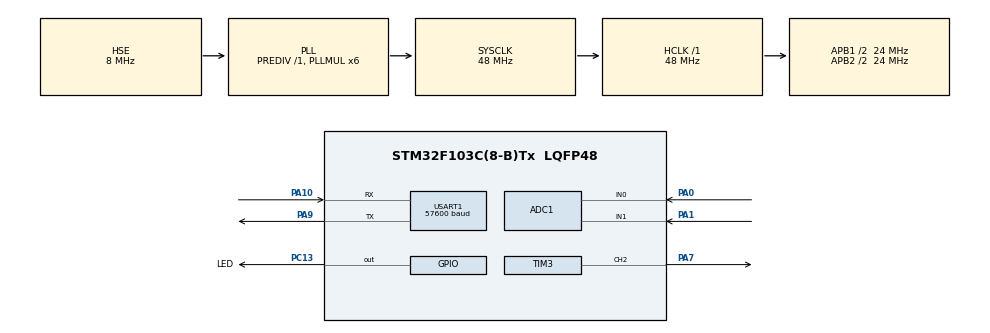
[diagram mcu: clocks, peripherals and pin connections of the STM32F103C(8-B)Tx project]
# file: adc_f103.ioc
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Mcu.Family=STM32F1
RCC.PLLSourceVirtual=RCC_PLLSOURCE_HSE
NVIC.ADC1_2_IRQn=true\:0\:0\:false\:false\:true\:true\:true
Dma.ADC1.0.Instance=DMA1_Channel1
PD1-OSC_OUT.Mode=HSE-External-Oscillator
PA10.Mode=Asynchronous
ADC1.ContinuousConvMode=DISABLE
USART1.BaudRate=57600
ADC1.SamplingTime-6\#ChannelRegularConversion=ADC_SAMPLETIME_1CYCLE_5
PC13-TAMPER-RTC.Signal=GPIO_Output
PD0-OSC_IN.Signal=RCC_OSC_IN
RCC.APB1CLKDivider=RCC_HCLK_DIV2
RCC.SYSCLKSource=RCC_SYSCLKSOURCE_PLLCLK
ProjectManager.StackSize=0x400
PA0-WKUP.Signal=ADCx_IN0
PD1-OSC_OUT.Signal=RCC_OSC_OUT
PA13.Signal=SYS_JTMS-SWDIO
Dma.ADC1.0.PeriphDataAlignment=DMA_PDATAALIGN_HALFWORD
PA9.Mode=Asynchronous
ADC1.Channel-5\#ChannelRegularConversion=ADC_CHANNEL_0
ProjectManager.TargetToolchain=STM32CubeIDE
Dma.ADC1.0.Mode=DMA_NORMAL
RCC.HCLKFreq_Value=48000000
Dma.ADC1.0.Priority=DMA_PRIORITY_LOW
RCC.APB2TimFreq_Value=48000000
TIM3.Period=4095
PA9.Signal=USART1_TX
Dma.ADC1.0.Direction=DMA_PERIPH_TO_MEMORY
RCC.USBFreq_Value=48000000
Dma.ADC1.0.MemDataAlignment=DMA_MDATAALIGN_HALFWORD
PA1.Signal=ADCx_IN1
RCC.AHBFreq_Value=48000000
PD0-OSC_IN.Mode=HSE-External-Oscillator
SH.S_TIM3_CH2.0=TIM3_CH2,PWM Generation2 CH2
board=custom
PC13-TAMPER-RTC.GPIO_Label=LED
RCC.PLLMUL=RCC_PLL_MUL6
ADC1.Channel-6\#ChannelRegularConversion=ADC_CHANNEL_1
RCC.APB2Freq_Value=24000000
PA14.Mode=Serial_Wire
TIM3.Prescaler=4
Dma.ADC1.0.PeriphInc=DMA_PINC_DISABLE
SH.ADCx_IN0.0=ADC1_IN0,IN0
ADC1.NbrOfConversion=2
PA13.Mode=Serial_Wire
Mcu.Name=STM32F103C(8-B)Tx
RCC.SYSCLKFreq_VALUE=48000000
Mcu.Package=LQFP48
ADC1.master=1
USART1.VirtualMode=VM_ASYNC
PA10.Signal=USART1_RX
PA14.Signal=SYS_JTCK-SWCLK
Dma.ADC1.0.MemInc=DMA_MINC_ENABLE
ProjectManager.HeapSize=0x200
ADC1.SamplingTime-5\#ChannelRegularConversion=ADC_SAMPLETIME_1CYCLE_5
NVIC.PriorityGroup=NVIC_PRIORITYGROUP_4
ADC1.NbrOfConversionFlag=1
RCC.APB2CLKDivider=RCC_HCLK_DIV2
SH.ADCx_IN1.0=ADC1_IN1,IN1
TIM3.Channel-PWM\ Generation2\ CH2=TIM_CHANNEL_2
RCC.APB1TimFreq_Value=48000000
TIM3.Pulse-PWM\ Generation2\ CH2=3005
NVIC.DMA1_Channel1_IRQn=true\:0\:0\:false\:false\:true\:false\:true
ADC1.Rank-6\#ChannelRegularConversion=2
Dma.Request0=ADC1
RCC.APB1Freq_Value=24000000
ADC1.Rank-5\#ChannelRegularConversion=1
PA7.Signal=S_TIM3_CH2

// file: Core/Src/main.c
/* USER CODE BEGIN Header */
/**
  ******************************************************************************
  * @file           : main.c
  * @brief          : Main program body
  ******************************************************************************
  * @attention
  *
  * <h2><center>&copy; Copyright (c) 2021 STMicroelectronics.
  * All rights reserved.</center></h2>
  *
  * This software component is licensed by ST under BSD 3-Clause license,
  * the "License"; You may not use this file except in compliance with the
  * License. You may obtain a copy of the License at:
  *                        opensource.org/licenses/BSD-3-Clause
  *
  ******************************************************************************
  */
/* USER CODE END Header */
#include "main.h"

/* USER CODE BEGIN Includes */
#include "stdio.h"
#include "string.h"
/* USER CODE END Includes */

ADC_HandleTypeDef hadc1;
DMA_HandleTypeDef hdma_adc1;

TIM_HandleTypeDef htim3;

UART_HandleTypeDef huart1;

/* USER CODE BEGIN PV */
char msg_UART_TX [55];

uint16_t value_adc = 0;

volatile uint8_t flag = 0; //флаг окончания преобразования АЦП

volatile uint16_t adc[2] = {0, 0}; //  два канала АЦП поэтому массив из двух элементо
/* USER CODE END PV */

void SystemClock_Config(void);
static void MX_GPIO_Init(void);
static void MX_DMA_Init(void);
static void MX_ADC1_Init(void);
static void MX_USART1_UART_Init(void);
static void MX_TIM3_Init(void);

int main(void)
{

  /* MCU Configuration--------------------------------------------------------*/

  /* Reset of all peripherals, Initializes the Flash interface and the Systick. */
  HAL_Init();

  /* Configure the system clock */
  SystemClock_Config();

  /* Initialize all configured peripherals */
  MX_GPIO_Init();
  MX_DMA_Init();
  MX_ADC1_Init();
  MX_USART1_UART_Init();
  MX_TIM3_Init();
  /* USER CODE BEGIN 2 */
  HAL_GPIO_WritePin(LED_GPIO_Port, LED_Pin, ENABLE);
  sprintf (msg_UART_TX, "%lu, %lu, %lu, %lu\r\n", HAL_RCC_GetSysClockFreq(), HAL_RCC_GetHCLKFreq(), HAL_RCC_GetPCLK1Freq(), HAL_RCC_GetPCLK2Freq());
  HAL_UART_Transmit (&huart1, (uint8_t*)msg_UART_TX, strlen(msg_UART_TX), 0xFF); //отправим тактовые частоты МК

  sprintf (msg_UART_TX, "adc_DMA_start\r\n");
  HAL_UART_Transmit (&huart1, (uint8_t*)msg_UART_TX, strlen(msg_UART_TX), 0xFF);

  HAL_ADCEx_Calibration_Start(&hadc1); //калибровка adc1
  sprintf (msg_UART_TX, "adc_calibrate\r\n");
  HAL_UART_Transmit (&huart1, (uint8_t*)msg_UART_TX, strlen(msg_UART_TX), 0xFF);

  HAL_ADC_Start_DMA(&hadc1, (uint32_t*)&adc, 2); // стартуем АЦП с DMA

  TIM_OC_InitTypeDef myConfigOC = {0}; //инициализируем структуру с настройками ШИМ
  myConfigOC.OCMode = TIM_OCMODE_PWM1;
  myConfigOC.Pulse = 0;
  myConfigOC.OCPolarity = TIM_OCPOLARITY_HIGH;
  myConfigOC.OCFastMode = TIM_OCFAST_DISABLE;
  HAL_TIM_PWM_ConfigChannel (&htim3, &myConfigOC, TIM_CHANNEL_2);
  HAL_TIM_PWM_Start(&htim3, TIM_CHANNEL_2); //запуск канала 2 таймера ШИМ
  /* USER CODE END 2 */

  /* Infinite loop */
  while (1)
  {

    /* USER CODE BEGIN 3 */

 if (flag)
 {
	 flag = 0;
	 HAL_GPIO_TogglePin (LED_GPIO_Port, LED_Pin);
	 HAL_ADC_Stop_DMA(&hadc1); // останавливаем АЦП1
	 sprintf(msg_UART_TX,  "ADC %hd %hd\n\r", (uint16_t)adc[0], (uint16_t)adc[1]);
	 HAL_UART_Transmit(&huart1, (uint8_t*)msg_UART_TX, strlen(msg_UART_TX), 1000);
	 if (adc[1] >= adc[0])
	 	 {
		 HAL_TIM_PWM_Stop(&htim3, TIM_CHANNEL_2); //остановим ШИМ
		 myConfigOC.Pulse = adc [1] - adc [0]; //впишем в нашу настройку длительности импульса ШИМ разницу между полученными значениями
		 HAL_TIM_PWM_ConfigChannel (&htim3, &myConfigOC, TIM_CHANNEL_2); //запишем новую настройку
		 HAL_TIM_PWM_Start(&htim3, TIM_CHANNEL_2); //запустим ШИМ
	 	 }
	 else
	 	 {
		 HAL_TIM_PWM_Stop(&htim3, TIM_CHANNEL_2);
		 myConfigOC.Pulse = adc [0] - adc [1]; //впишем в нашу настройку длительности импульса ШИМ разницу между полученными значениями
		 HAL_TIM_PWM_ConfigChannel (&htim3, &myConfigOC, TIM_CHANNEL_2); //запишем новую настройку
		 HAL_TIM_PWM_Start(&htim3, TIM_CHANNEL_2); //запустим ШИМ
	 	 }
	 adc[0] = 0; adc[1] = 0; //обнулим принятые значения АЦП
	 HAL_Delay(250);
	 HAL_ADC_Start_DMA(&hadc1, (uint32_t*)&adc, 2); // запускаем преобразование сигнала АЦП1
 }

  }
  /* USER CODE END 3 */
}

void SystemClock_Config(void)
{
  RCC_OscInitTypeDef RCC_OscInitStruct = {0};
  RCC_ClkInitTypeDef RCC_ClkInitStruct = {0};
  RCC_PeriphCLKInitTypeDef PeriphClkInit = {0};

  /** Initializes the RCC Oscillators according to the specified parameters
  * in the RCC_OscInitTypeDef structure.
  */
  RCC_OscInitStruct.OscillatorType = RCC_OSCILLATORTYPE_HSE;
  RCC_OscInitStruct.HSEState = RCC_HSE_ON;
  RCC_OscInitStruct.HSEPredivValue = RCC_HSE_PREDIV_DIV1;
  RCC_OscInitStruct.HSIState = RCC_HSI_ON;
  RCC_OscInitStruct.PLL.PLLState = RCC_PLL_ON;
  RCC_OscInitStruct.PLL.PLLSource = RCC_PLLSOURCE_HSE;
  RCC_OscInitStruct.PLL.PLLMUL = RCC_PLL_MUL6;
  if (HAL_RCC_OscConfig(&RCC_OscInitStruct) != HAL_OK)
  {
    Error_Handler();
  }
  /** Initializes the CPU, AHB and APB buses clocks
  */
  RCC_ClkInitStruct.ClockType = RCC_CLOCKTYPE_HCLK|RCC_CLOCKTYPE_SYSCLK
                              |RCC_CLOCKTYPE_PCLK1|RCC_CLOCKTYPE_PCLK2;
  RCC_ClkInitStruct.SYSCLKSource = RCC_SYSCLKSOURCE_PLLCLK;
  RCC_ClkInitStruct.AHBCLKDivider = RCC_SYSCLK_DIV1;
  RCC_ClkInitStruct.APB1CLKDivider = RCC_HCLK_DIV2;
  RCC_ClkInitStruct.APB2CLKDivider = RCC_HCLK_DIV2;

  if (HAL_RCC_ClockConfig(&RCC_ClkInitStruct, FLASH_LATENCY_1) != HAL_OK)
  {
    Error_Handler();
  }
  PeriphClkInit.PeriphClockSelection = RCC_PERIPHCLK_ADC;
  PeriphClkInit.AdcClockSelection = RCC_ADCPCLK2_DIV2;
  if (HAL_RCCEx_PeriphCLKConfig(&PeriphClkInit) != HAL_OK)
  {
    Error_Handler();
  }
}

static void MX_ADC1_Init(void)
{

  ADC_ChannelConfTypeDef sConfig = {0};

  /** Common config
  */
  hadc1.Instance = ADC1;
  hadc1.Init.ScanConvMode = ADC_SCAN_ENABLE;
  hadc1.Init.ContinuousConvMode = DISABLE;
  hadc1.Init.DiscontinuousConvMode = DISABLE;
  hadc1.Init.ExternalTrigConv = ADC_SOFTWARE_START;
  hadc1.Init.DataAlign = ADC_DATAALIGN_RIGHT;
  hadc1.Init.NbrOfConversion = 2;
  if (HAL_ADC_Init(&hadc1) != HAL_OK)
  {
    Error_Handler();
  }
  /** Configure Regular Channel
  */
  sConfig.Channel = ADC_CHANNEL_0;
  sConfig.Rank = ADC_REGULAR_RANK_1;
  sConfig.SamplingTime = ADC_SAMPLETIME_1CYCLE_5;
  if (HAL_ADC_ConfigChannel(&hadc1, &sConfig) != HAL_OK)
  {
    Error_Handler();
  }
  /** Configure Regular Channel
  */
  sConfig.Channel = ADC_CHANNEL_1;
  sConfig.Rank = ADC_REGULAR_RANK_2;
  if (HAL_ADC_ConfigChannel(&hadc1, &sConfig) != HAL_OK)
  {
    Error_Handler();
  }

}

static void MX_TIM3_Init(void)
{

  TIM_MasterConfigTypeDef sMasterConfig = {0};
  TIM_OC_InitTypeDef sConfigOC = {0};

  htim3.Instance = TIM3;
  htim3.Init.Prescaler = 4;
  htim3.Init.CounterMode = TIM_COUNTERMODE_UP;
  htim3.Init.Period = 4095;
  htim3.Init.ClockDivision = TIM_CLOCKDIVISION_DIV1;
  htim3.Init.AutoReloadPreload = TIM_AUTORELOAD_PRELOAD_DISABLE;
  if (HAL_TIM_PWM_Init(&htim3) != HAL_OK)
  {
    Error_Handler();
  }
  sMasterConfig.MasterOutputTrigger = TIM_TRGO_RESET;
  sMasterConfig.MasterSlaveMode = TIM_MASTERSLAVEMODE_DISABLE;
  if (HAL_TIMEx_MasterConfigSynchronization(&htim3, &sMasterConfig) != HAL_OK)
  {
    Error_Handler();
  }
  sConfigOC.OCMode = TIM_OCMODE_PWM1;
  sConfigOC.Pulse = 3005;
  sConfigOC.OCPolarity = TIM_OCPOLARITY_HIGH;
  sConfigOC.OCFastMode = TIM_OCFAST_DISABLE;
  if (HAL_TIM_PWM_ConfigChannel(&htim3, &sConfigOC, TIM_CHANNEL_2) != HAL_OK)
  {
    Error_Handler();
  }
  HAL_TIM_MspPostInit(&htim3);

}

static void MX_USART1_UART_Init(void)
{

  huart1.Instance = USART1;
  huart1.Init.BaudRate = 57600;
  huart1.Init.WordLength = UART_WORDLENGTH_8B;
  huart1.Init.StopBits = UART_STOPBITS_1;
  huart1.Init.Parity = UART_PARITY_NONE;
  huart1.Init.Mode = UART_MODE_TX_RX;
  huart1.Init.HwFlowCtl = UART_HWCONTROL_NONE;
  huart1.Init.OverSampling = UART_OVERSAMPLING_16;
  if (HAL_UART_Init(&huart1) != HAL_OK)
  {
    Error_Handler();
  }

}

static void MX_DMA_Init(void)
{

  /* DMA controller clock enable */
  __HAL_RCC_DMA1_CLK_ENABLE();

  /* DMA interrupt init */
  /* DMA1_Channel1_IRQn interrupt configuration */
  HAL_NVIC_SetPriority(DMA1_Channel1_IRQn, 0, 0);
  HAL_NVIC_EnableIRQ(DMA1_Channel1_IRQn);

}

static void MX_GPIO_Init(void)
{
  GPIO_InitTypeDef GPIO_InitStruct = {0};

  /* GPIO Ports Clock Enable */
  __HAL_RCC_GPIOC_CLK_ENABLE();
  __HAL_RCC_GPIOD_CLK_ENABLE();
  __HAL_RCC_GPIOA_CLK_ENABLE();

  /*Configure GPIO pin Output Level */
  HAL_GPIO_WritePin(LED_GPIO_Port, LED_Pin, GPIO_PIN_RESET);

  /*Configure GPIO pin : LED_Pin */
  GPIO_InitStruct.Pin = LED_Pin;
  GPIO_InitStruct.Mode = GPIO_MODE_OUTPUT_PP;
  GPIO_InitStruct.Pull = GPIO_NOPULL;
  GPIO_InitStruct.Speed = GPIO_SPEED_FREQ_LOW;
  HAL_GPIO_Init(LED_GPIO_Port, &GPIO_InitStruct);

}

/* USER CODE BEGIN 4 */
void HAL_ADC_ConvCpltCallback(ADC_HandleTypeDef* hadc)
{
    if(hadc->Instance == ADC1)
    {
    	flag = 1;
    }
}

void HAL_ADC_ErrorCallback(ADC_HandleTypeDef *hadc)
{
	if(hadc->Instance == ADC1)
	    {
		sprintf (msg_UART_TX, "ADC1_error\n\r");
		HAL_UART_Transmit(&huart1, (uint8_t*)msg_UART_TX, strlen(msg_UART_TX), 1000);
	    }
}
/* USER CODE END 4 */

void Error_Handler(void)
{
  __disable_irq();
  while (1)
  {
  }
}

/************************ (C) COPYRIGHT STMicroelectronics *****END OF FILE****/
